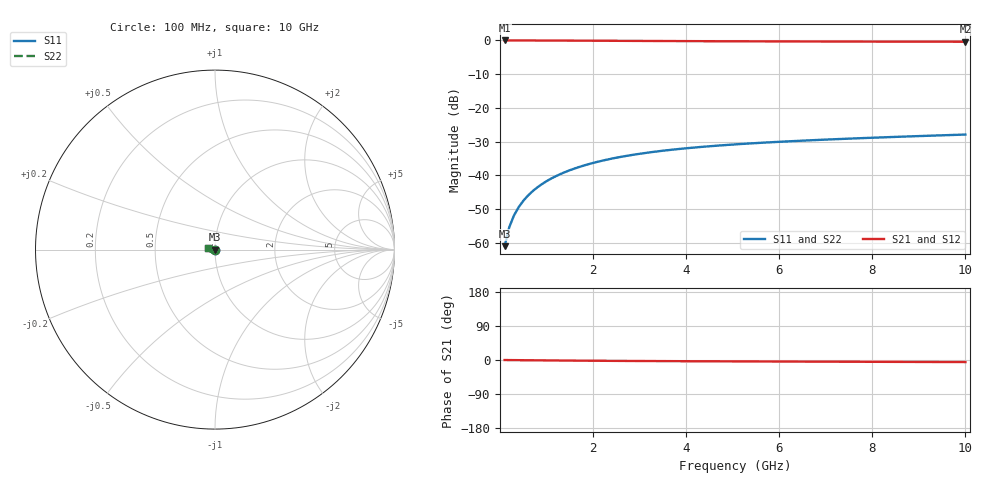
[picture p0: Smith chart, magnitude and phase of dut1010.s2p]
! Touchstone file exported from HFSS 2024.1.0
!  File:  C:/UserFiles/LocalFiles/RDL_TSV_Batchsim/temp_TSV1_1010_1780058840.aedt
!  Generated:  08:53:16 PM May 29, 2026
!  Design:  TSV1
!  Project:  temp_TSV1_1010_1780058840
!  Setup:  Setup1
!  Solution:  Sweep
! Variables:
!  dtsv = 6.71um
!  hbump = 3um
!  htsv = 85.77um
!  lrdl = 252.1521522um
!  p = 40
!  p1 = 43.65um
!  t = 500um
!  trdl = 3um
!  wrdl = 24.89489489um
# GHz S MA R 50.000000
! Terminal data exported
! Port[1] = TSV22_T1
! Port[2] = TSV22_T2
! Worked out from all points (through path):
!   100 points, 100 MHz to 10 GHz, reference 50 ohm
!   highest |S21| = 0.00 dB at 100 MHz (marker M1); lowest = -0.4 dB at 10 GHz (marker M2)
!   lowest |S11| = -61.0 dB at 100 MHz (marker M3), VSWR 1.00, Z = 50 - j0.0835 ohm
!   |S11| at or under -10 dB: start of sweep to end of sweep
!   |S22| runs from -61.0 to -27.9 dB; largest |S21 - S12| = 5.3e-15
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0.1  0.0008889 -69.8  0.9996 -0.1  0.9996 -0.1  0.000889 -69.8
! Gamma 0 0 0 0
! Port Impedance 50 0 50 0
0.2  0.0017 -82.1  0.9995 -0.2  0.9995 -0.2  0.0017 -82.1
0.3  0.002524 -87.7  0.9994 -0.3  0.9994 -0.3  0.002524 -87.7
0.4  0.003349 -91.4  0.9992 -0.4  0.9992 -0.4  0.003349 -91.4
0.5  0.004171 -94.3  0.999 -0.5  0.999 -0.5  0.004171 -94.3
0.6  0.004987 -96.9  0.9987 -0.7  0.9987 -0.7  0.004987 -96.9
0.7  0.005796 -99.2  0.9984 -0.8  0.9984 -0.8  0.005796 -99.2
0.8  0.006596 -101.3  0.998 -0.9  0.998 -0.9  0.006596 -101.3
0.9  0.007387 -103.4  0.9976 -1.0  0.9976 -1.0  0.007387 -103.4
1.1  0.008936 -107.3  0.9966 -1.2  0.9966 -1.2  0.008936 -107.3
1.4  0.01117 -112.8  0.9949 -1.5  0.9949 -1.5  0.01117 -112.8
1.6  0.01258 -116.2  0.9937 -1.6  0.9937 -1.6  0.01258 -116.2
1.8  0.01394 -119.6  0.9923 -1.8  0.9923 -1.8  0.01394 -119.6
2.1  0.01587 -124.3  0.9902 -2.0  0.9902 -2.0  0.01587 -124.3
2.5  0.01822 -130.3  0.9873 -2.3  0.9873 -2.3  0.01822 -130.3
2.9  0.02034 -135.9  0.9845 -2.6  0.9845 -2.6  0.02034 -135.9
3.4  0.0227 -142.4  0.981 -2.9  0.981 -2.9  0.0227 -142.4
4.2  0.0259 -151.6  0.976 -3.3  0.976 -3.3  0.0259 -151.6
5.1  0.02887 -160.7  0.9713 -3.7  0.9713 -3.7  0.02887 -160.7
6.7  0.03312 -174.1  0.965 -4.3  0.965 -4.3  0.03312 -174.1
8.4  0.03691 174.4  0.9604 -4.9  0.9604 -4.9  0.03691 174.4
10  0.04019 165.4  0.9574 -5.5  0.9574 -5.5  0.04019 165.4
